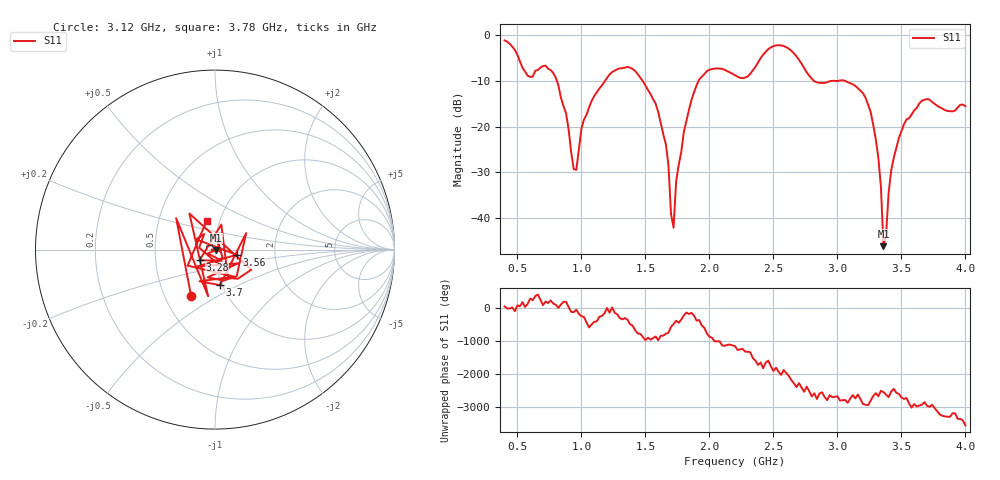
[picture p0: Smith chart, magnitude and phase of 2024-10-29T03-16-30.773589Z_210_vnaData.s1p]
!Created with skrf (http://scikit-rf.org).
# Hz S RI R 50.0
!freq ReS11 ImS11
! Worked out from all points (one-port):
!   181 points, 400 MHz to 4 GHz, reference 50 ohm
!   lowest |S11| = -46.1 dB at 3.36 GHz (marker M1), VSWR 1.01, Z = 50.4 - j0.222 ohm
!   |S11| at or under -10 dB: 807.9 MHz to 1.185 GHz (377.4 MHz wide, 37.9 % of centre); 1.478 GHz to 1.916 GHz (437.5 MHz wide, 25.8 % of centre); 3.057 GHz to end of sweep (the widest 3 of 4)
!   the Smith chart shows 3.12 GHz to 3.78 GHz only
!   S11 on the Smith chart (normalised r, x): 3.12 GHz: 0.68, -0.38; 3.28 GHz: 0.84, -0.10; 3.56 GHz: 1.27, -0.07; 3.7 GHz: 0.98, -0.40; 3.78 GHz: 0.87, +0.29
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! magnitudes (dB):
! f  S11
! 400 MHz  -1.2
! 580 MHz  -8.9
! 760 MHz  -7.7
! 860 MHz  -15.5
! 960 MHz  -29.4
! 1 GHz  -20.5
! 1.08 GHz  -14.4
! 1.3 GHz  -7.3
! 1.58 GHz  -15.0
! 1.66 GHz  -23.9
! 1.72 GHz  -42.1
! 1.74 GHz  -32.0
! 1.76 GHz  -28.4
! 1.92 GHz  -9.7
! 2.2 GHz  -8.8
! 2.5 GHz  -2.4
! 2.66 GHz  -4.0
! 2.82 GHz  -10.1
! 3.1 GHz  -10.5
! 3.12 GHz  -10.8
! 3.28 GHz  -19.7
! 3.34 GHz  -33.1
! 3.36 GHz  -46.1
! 3.42 GHz  -29.6
! 3.56 GHz  -18.2
! 3.7 GHz  -14.0
! 3.78 GHz  -15.5
! 4 GHz  -15.6
